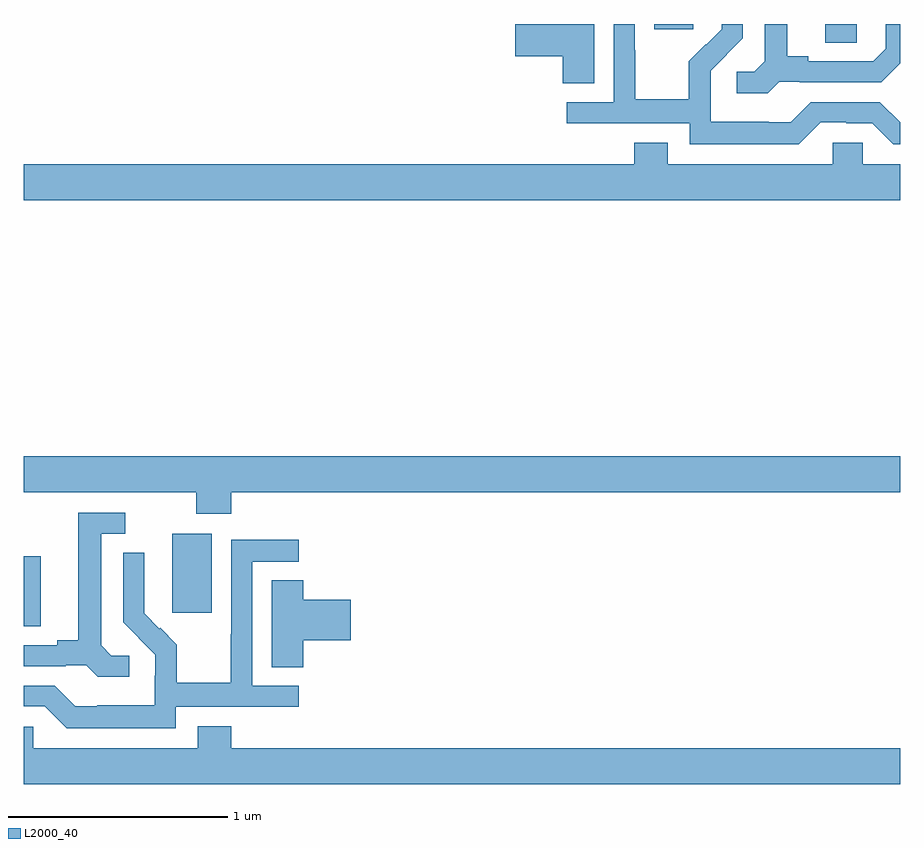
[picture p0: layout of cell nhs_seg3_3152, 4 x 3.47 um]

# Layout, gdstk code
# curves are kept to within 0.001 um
import gdstk
lib = gdstk.Library(unit=1e-6, precision=1e-09)
def R(c, l, rs):  # rectangles x0, y0, x1, y1
    for r in rs: c.add(gdstk.rectangle(r[:2], r[2:], *l))
def P(c, l, *ps):  # polygons
    for p in ps: c.add(gdstk.Polygon(p, *l))
L2000_40 = (2000, 40)

nhs_seg3_3152 = lib.new_cell('nhs_seg3_3152')
R(nhs_seg3_3152, L2000_40, [(275,685.651,275.077,685.971), (275.678,685.713,275.857,686.074), (278.657,688.315,278.802,688.4), (277.877,688.377,278.056,688.4)])
P(nhs_seg3_3152, L2000_40, [(278.637,687.951),(278.753,687.951),(278.753,687.948),(278.871,687.948),(278.967,687.852),(279,687.852),(279,687.951),(278.907,688.044),(278.592,688.044),(278.499,687.951),(278.399,687.951),(278.399,687.955),(278.136,687.955),(278.136,688.089),(278.134,688.089),(278.134,688.186),(278.28,688.334),(278.28,688.4),(278.186,688.4),(278.186,688.376),(278.115,688.305),(278.112,688.308),(278.035,688.231),(278.035,688.057),(277.791,688.057),(277.791,688.28),(277.788,688.28),(277.788,688.4),(277.692,688.4),(277.692,688.044),(277.479,688.044),(277.479,687.948),(278.04,687.948),(278.04,687.851),(278.537,687.851)],
  [(278.448,688.137),(278.542,688.137),(278.542,688.134),(278.914,688.134),(279,688.22),(279,688.4),(278.933,688.4),(278.933,688.287),(278.876,688.23),(278.581,688.23),(278.581,688.253),(278.485,688.253),(278.485,688.4),(278.381,688.4),(278.381,688.229),(278.334,688.182),(278.253,688.182),(278.253,688.085),(278.396,688.085)],
  [(277.603,688.4),(277.242,688.4),(277.242,688.253),(277.46,688.253),(277.46,688.129),(277.603,688.129)],
  [(279,687.76),(278.829,687.76),(278.829,687.858),(278.691,687.858),(278.691,687.76),(277.939,687.76),(277.939,687.859),(277.787,687.859),(277.787,687.76),(275,687.76),(275,687.596),(279,687.596)],
  [(275.948,686.264),(279,686.264),(279,686.428),(275,686.428),(275,686.264),(275.788,686.264),(275.788,686.165),(275.948,686.165)],
  [(275.482,685.518),(275.4,685.518),(275.353,685.565),(275.353,686.073),(275.464,686.073),(275.464,686.169),(275.249,686.169),(275.249,685.589),(275.153,685.589),(275.153,685.566),(275,685.566),(275,685.47),(275.192,685.47),(275.192,685.473),(275.286,685.473),(275.338,685.421),(275.482,685.421)],
  [(275.694,685.284),(276.256,685.284),(276.256,685.38),(276.042,685.38),(276.042,685.947),(276.256,685.947),(276.256,686.046),(275.946,686.046),(275.946,685.616),(275.944,685.616),(275.944,685.393),(275.699,685.393),(275.699,685.567),(275.622,685.644),(275.619,685.641),(275.549,685.712),(275.55,685.988),(275.454,685.988),(275.454,685.67),(275.6,685.522),(275.6,685.425),(275.598,685.425),(275.598,685.291),(275.335,685.291),(275.335,685.287),(275.235,685.287),(275.142,685.38),(275,685.38),(275,685.287),(275.097,685.287),(275.197,685.187),(275.694,685.187)],
  [(276.275,685.589),(276.493,685.589),(276.493,685.772),(276.275,685.772),(276.275,685.862),(276.131,685.862),(276.131,685.465),(276.275,685.465)],
  [(279,685.096),(275.948,685.096),(275.948,685.195),(275.795,685.195),(275.795,685.096),(275.043,685.096),(275.043,685.194),(275,685.194),(275,684.932),(279,684.932)])

lib.write_gds('nhs_seg3_3152.gds')
